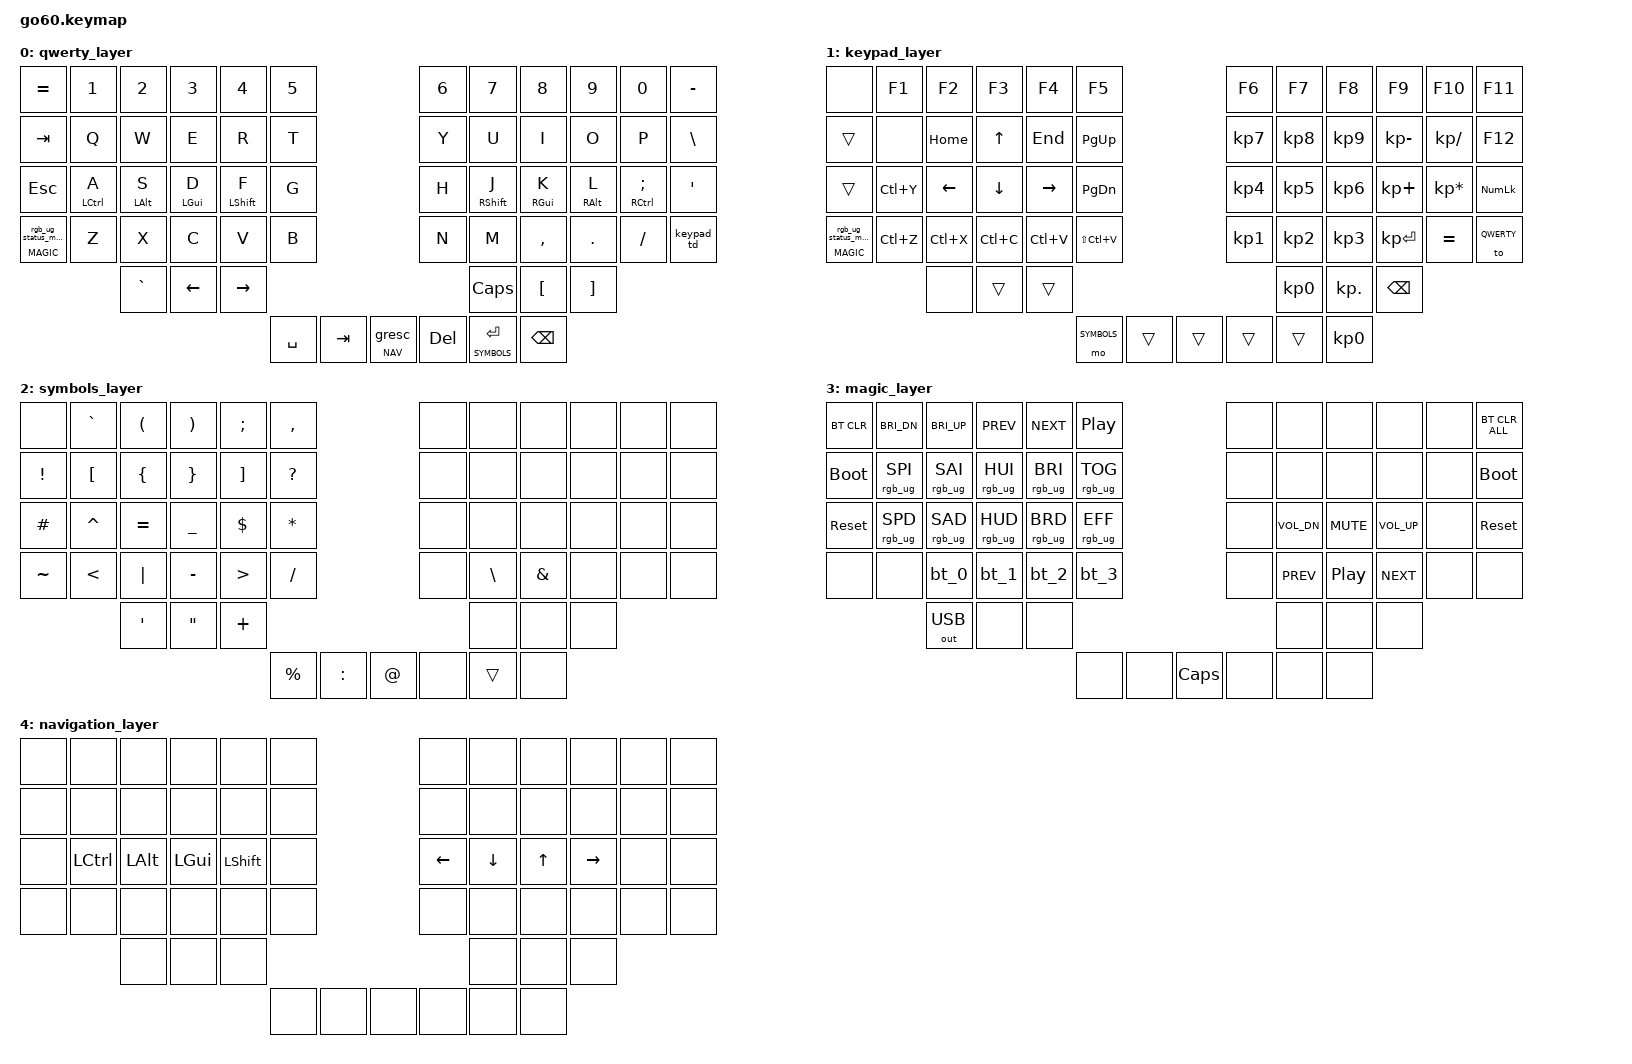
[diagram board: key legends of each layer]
/*
 * Copyright (c) 2020 The ZMK Contributors
 *
 * SPDX-License-Identifier: MIT
 */

#include <behaviors.dtsi>

#include <dt-bindings/zmk/bt.h>
#include <dt-bindings/zmk/ext_power.h>
#include <dt-bindings/zmk/keys.h>
#include <dt-bindings/zmk/outputs.h>
#include <dt-bindings/zmk/rgb.h>
#include <dt-bindings/zmk/input_transform.h>
#include <dt-bindings/zmk/pointing.h>

#include <input/processors.dtsi>
#include <zephyr/dt-bindings/input/input-event-codes.h>

#include "utils/key_labels/go60.h"

// layers
#define QWERTY 0
#define KEYPAD 1
#define SYMBOLS 2
#define MAGIC 3
#define NAV 4

/ {
    input_processors {
        zip_click_to_right_click_mapper: zip_click_to_right_click_mapper {
            compatible = "zmk,input-processor-code-mapper";
            #input-processor-cells = <0>;
            type = <INPUT_EV_KEY>;
            map = <INPUT_BTN_0 INPUT_BTN_1>;
        };
    };

    behaviors {
        magic: magic {
            compatible = "zmk,behavior-hold-tap";
            #binding-cells = <2>;
            flavor = "tap-preferred";
            tapping-term-ms = <200>;
            bindings = <&mo>, <&rgb_ug_status_macro>;
        };

        keypad_td: keypad_td {
            compatible = "zmk,behavior-tap-dance";
            #binding-cells = <0>;
            tapping-term-ms = <200>;
            bindings = <&mo KEYPAD>, <&to KEYPAD>;
        };

        symbol_nav_td: symbol_nav_td {
            compatible = "zmk,behavior-tap-dance";
            #binding-cells = <0>;
            tapping-term-ms = <200>;
            bindings = <&mo SYMBOLS>, <&to SYMBOLS>;
        };

        bt_0: bt_0 {
            compatible = "zmk,behavior-tap-dance";
            #binding-cells = <0>;
            tapping-term-ms = <200>;
            bindings = <&bt_select_0>, <&bt BT_DISC 0>;
        };
        bt_1: bt_1 {
            compatible = "zmk,behavior-tap-dance";
            #binding-cells = <0>;
            tapping-term-ms = <200>;
            bindings = <&bt_select_1>, <&bt BT_DISC 1>;
        };
        bt_2: bt_2 {
            compatible = "zmk,behavior-tap-dance";
            #binding-cells = <0>;
            tapping-term-ms = <200>;
            bindings = <&bt_select_2>, <&bt BT_DISC 2>;
        };
        bt_3: bt_3 {
            compatible = "zmk,behavior-tap-dance";
            #binding-cells = <0>;
            tapping-term-ms = <200>;
            bindings = <&bt_select_3>, <&bt BT_DISC 3>;
        };

        hml: home_row_mod_left {
            compatible = "zmk,behavior-hold-tap";
            #binding-cells = <2>;
            flavor = "balanced";
            require-prior-idle-ms = <150>;
            tapping-term-ms = <280>;
            quick-tap-ms = <175>;
            bindings = <&kp>, <&kp>;
            hold-trigger-key-positions = <KEYS_R THUMBS>;
            hold-trigger-on-release;
        };
        hmr: home_row_mod_right {
            compatible = "zmk,behavior-hold-tap";
            #binding-cells = <2>;
            flavor = "balanced";
            require-prior-idle-ms = <150>;
            tapping-term-ms = <280>;
            quick-tap-ms = <175>;
            bindings = <&kp>, <&kp>;
            hold-trigger-key-positions = <KEYS_L THUMBS>;
            hold-trigger-on-release;
        };

        ltg: lt_gresc {
            compatible = "zmk,behavior-hold-tap";
            #binding-cells = <2>;
            flavor = "tap-preferred";
            tapping-term-ms = <200>;
            quick-tap-ms = <175>;
            bindings = <&mo>, <&gresc>;
        };

    };

    macros {
        rgb_ug_status_macro: rgb_ug_status_macro {
            compatible = "zmk,behavior-macro";
            #binding-cells = <0>;
            bindings = <&rgb_ug RGB_STATUS>;
        };

        bt_select_0: bt_select_0 {
            compatible = "zmk,behavior-macro";
            #binding-cells = <0>;
            bindings
                = <&out OUT_BLE>,
                  <&bt BT_SEL 0>;
        };
        bt_select_1: bt_select_1 {
            compatible = "zmk,behavior-macro";
            #binding-cells = <0>;
            bindings
                = <&out OUT_BLE>,
                  <&bt BT_SEL 1>;
        };
        bt_select_2: bt_select_2 {
            compatible = "zmk,behavior-macro";
            #binding-cells = <0>;
            bindings
                = <&out OUT_BLE>,
                  <&bt BT_SEL 2>;
        };
        bt_select_3: bt_select_3 {
            compatible = "zmk,behavior-macro";
            #binding-cells = <0>;
            bindings
                = <&out OUT_BLE>,
                  <&bt BT_SEL 3>;
        };
    };

    combos {
        compatible = "zmk,combos";
        combo_caps_word {
            timeout-ms = <50>;
            key-positions = <L32 R32>;
            layers = <QWERTY>;
            bindings = <&caps_word>;
        };
    };

    keymap {
        compatible = "zmk,keymap";

        qwerty_layer {
            bindings = <
            &kp EQUAL      &kp N1       &kp N2      &kp N3      &kp N4        &kp N5                                                      &kp N6   &kp N7        &kp N8      &kp N9      &kp N0          &kp MINUS
            &kp TAB        &kp Q        &kp W       &kp E       &kp R         &kp T                                                       &kp Y    &kp U         &kp I       &kp O       &kp P           &kp BSLH
            &kp ESC        &hml LCTRL A &hml LALT S &hml LGUI D &hml LSHIFT F &kp G                                                       &kp H    &hmr RSHIFT J &hmr RGUI K &hmr RALT L &hmr RCTRL SEMI &kp SQT
            &magic MAGIC 0 &kp Z        &kp X       &kp C       &kp V         &kp B                                                       &kp N    &kp M         &kp COMMA   &kp DOT     &kp FSLH        &keypad_td
                                        &kp GRAVE   &kp LEFT    &kp RIGHT                                                                          &kp CAPS      &kp LBKT    &kp RBKT
                                                                              &kp SPACE &kp TAB &ltg NAV 0  &kp DELETE &lt SYMBOLS RETURN &kp BSPC
            >;
        };

        keypad_layer {
            bindings = <
            &none          &kp F1    &kp F2    &kp F3    &kp F4    &kp F5                                   &kp F6     &kp F7    &kp F8     &kp F9       &kp F10         &kp F11
            &trans         &none     &kp HOME  &kp UP    &kp END   &kp PG_UP                                &kp KP_N7  &kp KP_N8 &kp KP_N9  &kp KP_MINUS &kp KP_SLASH    &kp F12
            &trans         &kp LC(Y) &kp LEFT  &kp DOWN  &kp RIGHT &kp PG_DN                                &kp KP_N4  &kp KP_N5 &kp KP_N6  &kp KP_PLUS  &kp KP_MULTIPLY &kp KP_NUM
            &magic MAGIC 0 &kp LC(Z) &kp LC(X) &kp LC(C) &kp LC(V) &kp LS(LC(V))                            &kp KP_N1  &kp KP_N2 &kp KP_N3  &kp KP_ENTER &kp EQUAL       &to QWERTY
                                     &none     &trans    &trans                                                        &kp KP_N0 &kp KP_DOT &kp BSPC
                                                                   &mo SYMBOLS &trans &trans  &trans &trans &kp KP_N0
            >;
        };

        symbols_layer {
            bindings = <
            &none     &kp GRAVE &kp LPAR  &kp RPAR  &kp SEMI &kp COMMA                                 &none &none    &none    &none &none &none
            &kp EXCL  &kp LBKT  &kp LBRC  &kp RBRC  &kp RBKT &kp QMARK                                 &none &none    &none    &none &none &none
            &kp HASH  &kp CARET &kp EQUAL &kp UNDER &kp DLLR &kp STAR                                  &none &none    &none    &none &none &none
            &kp TILDE &kp LT    &kp PIPE  &kp MINUS &kp GT   &kp FSLH                                  &none &kp BSLH &kp AMPS &none &none &none
                                &kp SQT   &kp DQT   &kp PLUS                                                 &none    &none    &none
                                                              &kp PRCNT &kp COLON &kp AT  &none &trans &none
            >;
        };

        magic_layer {
            bindings = <
            &bt BT_CLR  &kp C_BRI_DN    &kp C_BRI_UP    &kp C_PREV      &kp C_NEXT      &kp C_PP                          &none      &none        &none      &none        &none &bt BT_CLR_ALL
            &bootloader &rgb_ug RGB_SPI &rgb_ug RGB_SAI &rgb_ug RGB_HUI &rgb_ug RGB_BRI &rgb_ug RGB_TOG                   &none      &none        &none      &none        &none &bootloader
            &sys_reset  &rgb_ug RGB_SPD &rgb_ug RGB_SAD &rgb_ug RGB_HUD &rgb_ug RGB_BRD &rgb_ug RGB_EFF                   &none      &kp C_VOL_DN &kp C_MUTE &kp C_VOL_UP &none &sys_reset
            &none       &none           &bt_0           &bt_1           &bt_2           &bt_3                             &none      &kp C_PREV   &kp C_PP   &kp C_NEXT   &none &none
                                        &out OUT_USB    &none           &none                                                        &none        &none      &none
                                                                                        &none &none &kp CAPS  &none &none &none
            >;
        };

        navigation_layer {
            bindings = <
            &none &none     &none    &none    &none      &none                        &none    &none    &none  &none     &none &none
            &none &none     &none    &none    &none      &none                        &none    &none    &none  &none     &none &none
            &none &kp LCTRL &kp LALT &kp LGUI &kp LSHIFT &none                        &kp LEFT &kp DOWN &kp UP &kp RIGHT &none &none
            &none &none     &none    &none    &none      &none                        &none    &none    &none  &none     &none &none
                            &none    &none    &none                                           &none    &none  &none
                                                            &none &none &none  &none &none &none
            >;
        };
    };
};

&cirque_rh_listener {
    input-processors = <&zip_xy_scaler 7 4>;
    layer_2 {
        layers = <2>;
        input-processors = <&zip_xy_scaler 9 1>;
    };
};

&cirque_lh_listener {
    input-processors =
        <&zip_xy_transform INPUT_TRANSFORM_Y_INVERT>,
        <&zip_xy_to_scroll_mapper>,
        <&zip_scroll_scaler 1 32>,
        <&zip_click_to_right_click_mapper>;
};
